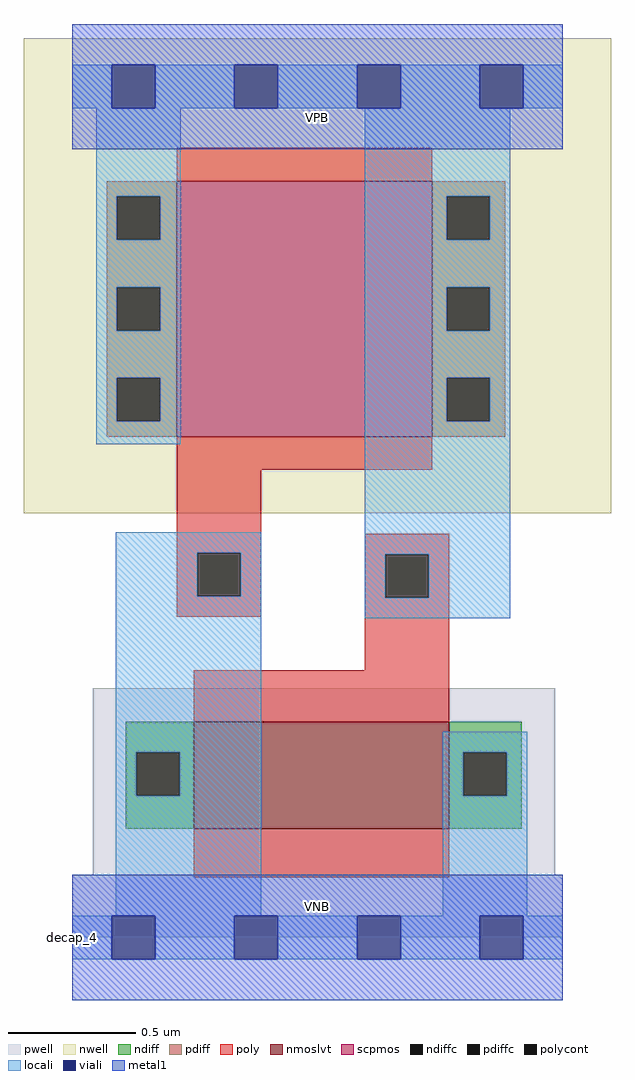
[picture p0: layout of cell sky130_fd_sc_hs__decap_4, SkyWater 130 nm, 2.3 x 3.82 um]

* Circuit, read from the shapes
.subckt sky130_fd_sc_hs__decap_4 VGND VNB VPB VPWR
XM1 VGND VPWR VGND VNB sky130_fd_pr__nfet_01v8_lvt w=0.42 l=1
XM2 VPWR VGND VPWR VPB sky130_fd_pr__pfet_01v8 w=1 l=1
.ends

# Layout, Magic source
magic
tech sky130A
magscale 1 2
<< nwell >>
rect -38 332 422 704
<< pwell >>
rect 16 49 378 195
rect 0 0 384 49
<< scpmos >>
rect 82 392 282 592
<< nmoslvt >>
rect 95 85 295 169
<< ndiff >>
rect 42 145 95 169
rect 42 111 50 145
rect 84 111 95 145
rect 42 85 95 111
rect 295 145 352 169
rect 295 111 306 145
rect 340 111 352 145
rect 295 85 352 111
<< pdiff >>
rect 27 580 82 592
rect 27 546 35 580
rect 69 546 82 580
rect 27 509 82 546
rect 27 475 35 509
rect 69 475 82 509
rect 27 438 82 475
rect 27 404 35 438
rect 69 404 82 438
rect 27 392 82 404
rect 282 580 339 592
rect 282 546 293 580
rect 327 546 339 580
rect 282 509 339 546
rect 282 475 293 509
rect 327 475 339 509
rect 282 438 339 475
rect 282 404 293 438
rect 327 404 339 438
rect 282 392 339 404
<< ndiffc >>
rect 50 111 84 145
rect 306 111 340 145
<< pdiffc >>
rect 35 546 69 580
rect 35 475 69 509
rect 35 404 69 438
rect 293 546 327 580
rect 293 475 327 509
rect 293 404 327 438
<< poly >>
rect 82 592 282 618
rect 82 366 282 392
rect 82 301 148 366
rect 82 267 98 301
rect 132 267 148 301
rect 82 251 148 267
rect 229 300 295 316
rect 229 266 245 300
rect 279 266 295 300
rect 229 209 295 266
rect 95 169 295 209
rect 95 47 295 85
<< polycont >>
rect 98 267 132 301
rect 245 266 279 300
<< locali >>
rect 0 649 31 683
rect 65 649 127 683
rect 161 649 223 683
rect 257 649 319 683
rect 353 649 384 683
rect 19 580 85 649
rect 19 546 35 580
rect 69 546 85 580
rect 19 509 85 546
rect 19 475 35 509
rect 69 475 85 509
rect 19 438 85 475
rect 19 404 35 438
rect 69 404 85 438
rect 19 386 85 404
rect 229 580 343 649
rect 229 546 293 580
rect 327 546 343 580
rect 229 509 343 546
rect 229 475 293 509
rect 327 475 343 509
rect 229 438 343 475
rect 229 404 293 438
rect 327 404 343 438
rect 34 301 148 317
rect 34 267 98 301
rect 132 267 148 301
rect 34 145 148 267
rect 229 300 343 404
rect 229 266 245 300
rect 279 266 343 300
rect 229 250 343 266
rect 34 111 50 145
rect 84 111 148 145
rect 34 17 148 111
rect 290 145 356 161
rect 290 111 306 145
rect 340 111 356 145
rect 290 17 356 111
rect 0 -17 31 17
rect 65 -17 127 17
rect 161 -17 223 17
rect 257 -17 319 17
rect 353 -17 384 17
<< viali >>
rect 31 649 65 683
rect 127 649 161 683
rect 223 649 257 683
rect 319 649 353 683
rect 31 -17 65 17
rect 127 -17 161 17
rect 223 -17 257 17
rect 319 -17 353 17
<< metal1 >>
rect 0 683 384 715
rect 0 649 31 683
rect 65 649 127 683
rect 161 649 223 683
rect 257 649 319 683
rect 353 649 384 683
rect 0 617 384 649
rect 0 17 384 49
rect 0 -17 31 17
rect 65 -17 127 17
rect 161 -17 223 17
rect 257 -17 319 17
rect 353 -17 384 17
rect 0 -49 384 -17
<< labels >>
rlabel comment s 0 0 0 0 4 decap_4
flabel pwell s 0 0 384 49 0 FreeSans 200 0 0 0 VNB
port 2 nsew ground bidirectional
flabel nwell s 0 617 384 666 0 FreeSans 200 0 0 0 VPB
port 3 nsew power bidirectional
flabel metal1 s 0 0 384 49 0 FreeSans 340 0 0 0 VGND
port 1 nsew ground bidirectional
flabel metal1 s 0 617 384 666 0 FreeSans 340 0 0 0 VPWR
port 4 nsew power bidirectional
<< properties >>
string LEFsite unit
string LEFclass CORE
string FIXED_BBOX 0 0 384 666
string GDS_FILE $PDKPATH/libs.ref/sky130_fd_sc_hs/gds/sky130_fd_sc_hs.gds
string LEFsymmetry X Y
string GDS_END 3144810
string GDS_START 3141948
<< end >>
